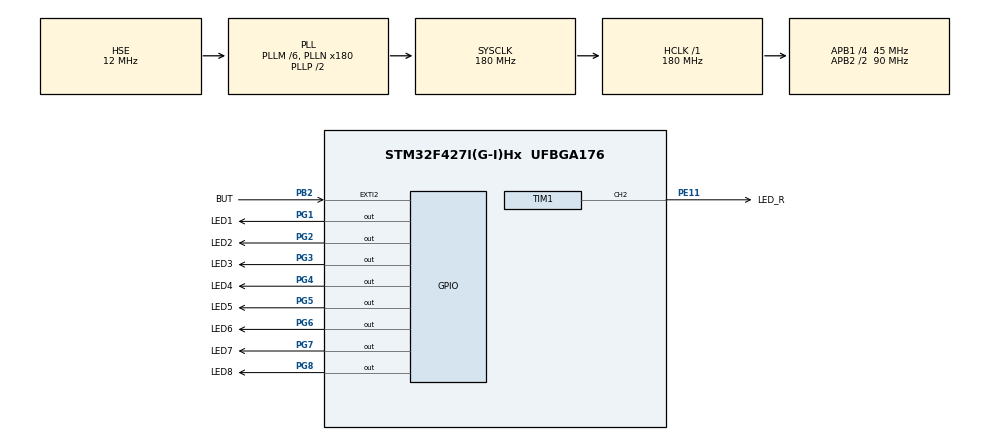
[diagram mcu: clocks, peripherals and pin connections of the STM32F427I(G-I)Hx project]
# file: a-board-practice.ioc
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IWDG.Prescaler=IWDG_PRESCALER_16
IWDG.Reload=4000-1
Mcu.Family=STM32F4
Mcu.Name=STM32F427I(G-I)Hx
Mcu.Package=UFBGA176
NVIC.EXTI2_IRQn=true\:1\:0\:true\:false\:true\:true\:true\:true
NVIC.PriorityGroup=NVIC_PRIORITYGROUP_4
NVIC.TIM1_UP_TIM10_IRQn=true\:1\:0\:true\:false\:true\:true\:true\:true
NVIC.TIM2_IRQn=true\:1\:0\:true\:false\:true\:true\:true\:true
PA13.Mode=Serial_Wire
PA13.Signal=SYS_JTMS-SWDIO
PA14.Mode=Serial_Wire
PA14.Signal=SYS_JTCK-SWCLK
PB2/BOOT1.GPIO_Label=BUT
PB2/BOOT1.GPIO_PuPd=GPIO_PULLDOWN
PB2/BOOT1.Signal=GPXTI2
PE11.GPIO_Label=LED_R
PE11.Signal=S_TIM1_CH2
PG1.GPIO_Label=LED1
PG1.Signal=GPIO_Output
PG2.GPIO_Label=LED2
PG2.Signal=GPIO_Output
PG3.GPIO_Label=LED3
PG3.Signal=GPIO_Output
PG4.GPIO_Label=LED4
PG4.Signal=GPIO_Output
PG5.GPIO_Label=LED5
PG5.Signal=GPIO_Output
PG6.GPIO_Label=LED6
PG6.Signal=GPIO_Output
PG7.GPIO_Label=LED7
PG7.Signal=GPIO_Output
PG8.GPIO_Label=LED8
PG8.Signal=GPIO_Output
PH0/OSC_IN.Mode=HSE-External-Oscillator
PH0/OSC_IN.Signal=RCC_OSC_IN
PH1/OSC_OUT.Mode=HSE-External-Oscillator
PH1/OSC_OUT.Signal=RCC_OSC_OUT
ProjectManager.HeapSize=0x200
ProjectManager.StackSize=0x400
ProjectManager.TargetToolchain=MDK-ARM V5.32
RCC.48MHZClocksFreq_Value=90000000
RCC.AHBFreq_Value=180000000
RCC.APB1CLKDivider=RCC_HCLK_DIV4
RCC.APB1Freq_Value=45000000
RCC.APB1TimFreq_Value=90000000
RCC.APB2CLKDivider=RCC_HCLK_DIV2
RCC.APB2Freq_Value=90000000
RCC.APB2TimFreq_Value=180000000
RCC.CortexFreq_Value=180000000
RCC.HCLKFreq_Value=180000000
RCC.HSE_VALUE=12000000
RCC.HSI_VALUE=16000000
RCC.LSE_VALUE=32768
RCC.PLLM=6
RCC.PLLN=180
RCC.PLLSourceVirtual=RCC_PLLSOURCE_HSE
RCC.SYSCLKFreq_VALUE=180000000
RCC.SYSCLKSource=RCC_SYSCLKSOURCE_PLLCLK
RCC.VCOOutputFreq_Value=360000000
SH.S_TIM1_CH2.0=TIM1_CH2,PWM Generation2 CH2
TIM1.Channel-PWM\ Generation2\ CH2=TIM_CHANNEL_2
TIM1.OCMode_PWM-PWM\ Generation2\ CH2=TIM_OCMODE_PWM2
TIM1.Period=999
TIM1.Prescaler=179
TIM1.Pulse-PWM\ Generation2\ CH2=0
TIM2.Period=9999
TIM2.Prescaler=17999
VP_IWDG_VS_IWDG.Mode=IWDG_Activate
VP_TIM1_VS_ClockSourceINT.Mode=Internal
VP_TIM2_VS_ClockSourceINT.Mode=Internal
board=custom

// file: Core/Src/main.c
/* USER CODE BEGIN Header */
/**
  ******************************************************************************
  * @file           : main.c
  * @brief          : Main program body
  ******************************************************************************
  * @attention
  *
  * Copyright (c) 2026 STMicroelectronics.
  * All rights reserved.
  *
  * This software is licensed under terms that can be found in the LICENSE file
  * in the root directory of this software component.
  * If no LICENSE file comes with this software, it is provided AS-IS.
  *
  ******************************************************************************
  */
/* USER CODE END Header */
#include "main.h"
#include "iwdg.h"
#include "tim.h"
#include "gpio.h"

/* USER CODE BEGIN PD */
#define BREATHE_INTERVAL 10
#define BLINK_INTERVAL 500
/* USER CODE END PD */

void SystemClock_Config(void);

/* USER CODE BEGIN 0 */
uint32_t tick;
int8_t led_r_status;

// define breathing&blinking status variables
int16_t breatheStrength;
int8_t breatheDir,blinkStat;
uint32_t lastTick=0;
void breathe(){led_r_status=1;lastTick=tick;breatheStrength=0;breatheDir=1;}
void blink(){led_r_status=2;lastTick=tick;__HAL_TIM_SET_COMPARE(&htim1, TIM_CHANNEL_2, 0);blinkStat=0;}
void out(){led_r_status=0;__HAL_TIM_SET_COMPARE(&htim1, TIM_CHANNEL_2, 0);}
/* USER CODE END 0 */

int main(void)
{

  /* MCU Configuration--------------------------------------------------------*/

  /* Reset of all peripherals, Initializes the Flash interface and the Systick. */
  HAL_Init();

  /* Configure the system clock */
  SystemClock_Config();

  /* Initialize all configured peripherals */
  MX_GPIO_Init();
  MX_TIM1_Init();
  MX_TIM2_Init();
  MX_IWDG_Init();
  /* USER CODE BEGIN 2 */
  HAL_TIM_PWM_Start(&htim1, TIM_CHANNEL_2);
  // HAL_TIM_Base_Start(&htim2);
  HAL_TIM_Base_Start_IT(&htim2);
  out();// shut down the light
  /* USER CODE END 2 */

  /* Infinite loop */
  /* USER CODE BEGIN WHILE */

  while (1)
  {

    tick=HAL_GetTick();

    if (HAL_GPIO_ReadPin(GPIOB, GPIO_PIN_2) == GPIO_PIN_SET) // custom button
    {}

    //breathe&blink;
    if (led_r_status==1&&tick-lastTick>=BREATHE_INTERVAL) // mode 1
    {
      breatheStrength+=breatheDir*10;
      if (breatheStrength==1000)breatheDir=-1;
      else if (!breatheStrength)breatheDir=1;
      __HAL_TIM_SET_COMPARE(&htim1, TIM_CHANNEL_2, breatheStrength);
      lastTick=tick;
    }
    else if(led_r_status==2&&tick-lastTick>=BLINK_INTERVAL) // mode 2
    {
      if (blinkStat==1)
      {
        __HAL_TIM_SET_COMPARE(&htim1, TIM_CHANNEL_2, 0);
        blinkStat=0;
      }else
      {
        __HAL_TIM_SET_COMPARE(&htim1, TIM_CHANNEL_2, 500);
        blinkStat=1;
      }
      lastTick=tick;
    }

    //wavelight
    int CYC=5000,HCYC=CYC/2;
    int STATE=htim2.Instance->CNT%CYC<CYC/2?GPIO_PIN_RESET:GPIO_PIN_SET;
    if (htim2.Instance->CNT%HCYC<HCYC/8) HAL_GPIO_WritePin(LED1_GPIO_Port, LED1_Pin,STATE);
    else if (htim2.Instance->CNT%HCYC<HCYC/8*2) HAL_GPIO_WritePin(LED2_GPIO_Port, LED2_Pin,STATE);
    else if (htim2.Instance->CNT%HCYC<HCYC/8*3) HAL_GPIO_WritePin(LED3_GPIO_Port, LED3_Pin,STATE);
    else if (htim2.Instance->CNT%HCYC<HCYC/8*4) HAL_GPIO_WritePin(LED4_GPIO_Port, LED4_Pin,STATE);
    else if (htim2.Instance->CNT%HCYC<HCYC/8*5) HAL_GPIO_WritePin(LED5_GPIO_Port, LED5_Pin,STATE);
    else if (htim2.Instance->CNT%HCYC<HCYC/8*6) HAL_GPIO_WritePin(LED6_GPIO_Port, LED6_Pin,STATE);
    else if (htim2.Instance->CNT%HCYC<HCYC/8*7) HAL_GPIO_WritePin(LED7_GPIO_Port, LED7_Pin,STATE);
    else if (htim2.Instance->CNT%HCYC<HCYC) HAL_GPIO_WritePin(LED8_GPIO_Port, LED8_Pin,STATE);

    /* USER CODE END WHILE */

  }
}

void SystemClock_Config(void)
{
  RCC_OscInitTypeDef RCC_OscInitStruct = {0};
  RCC_ClkInitTypeDef RCC_ClkInitStruct = {0};

  /** Configure the main internal regulator output voltage
  */
  __HAL_RCC_PWR_CLK_ENABLE();
  __HAL_PWR_VOLTAGESCALING_CONFIG(PWR_REGULATOR_VOLTAGE_SCALE1);

  /** Initializes the RCC Oscillators according to the specified parameters
  * in the RCC_OscInitTypeDef structure.
  */
  RCC_OscInitStruct.OscillatorType = RCC_OSCILLATORTYPE_LSI|RCC_OSCILLATORTYPE_HSE;
  RCC_OscInitStruct.HSEState = RCC_HSE_ON;
  RCC_OscInitStruct.LSIState = RCC_LSI_ON;
  RCC_OscInitStruct.PLL.PLLState = RCC_PLL_ON;
  RCC_OscInitStruct.PLL.PLLSource = RCC_PLLSOURCE_HSE;
  RCC_OscInitStruct.PLL.PLLM = 6;
  RCC_OscInitStruct.PLL.PLLN = 180;
  RCC_OscInitStruct.PLL.PLLP = RCC_PLLP_DIV2;
  RCC_OscInitStruct.PLL.PLLQ = 4;
  if (HAL_RCC_OscConfig(&RCC_OscInitStruct) != HAL_OK)
  {
    Error_Handler();
  }

  /** Activate the Over-Drive mode
  */
  if (HAL_PWREx_EnableOverDrive() != HAL_OK)
  {
    Error_Handler();
  }

  /** Initializes the CPU, AHB and APB buses clocks
  */
  RCC_ClkInitStruct.ClockType = RCC_CLOCKTYPE_HCLK|RCC_CLOCKTYPE_SYSCLK
                              |RCC_CLOCKTYPE_PCLK1|RCC_CLOCKTYPE_PCLK2;
  RCC_ClkInitStruct.SYSCLKSource = RCC_SYSCLKSOURCE_PLLCLK;
  RCC_ClkInitStruct.AHBCLKDivider = RCC_SYSCLK_DIV1;
  RCC_ClkInitStruct.APB1CLKDivider = RCC_HCLK_DIV4;
  RCC_ClkInitStruct.APB2CLKDivider = RCC_HCLK_DIV2;

  if (HAL_RCC_ClockConfig(&RCC_ClkInitStruct, FLASH_LATENCY_5) != HAL_OK)
  {
    Error_Handler();
  }
}

void Error_Handler(void)
{
  __disable_irq();
  while (1)
  {
  }
}
